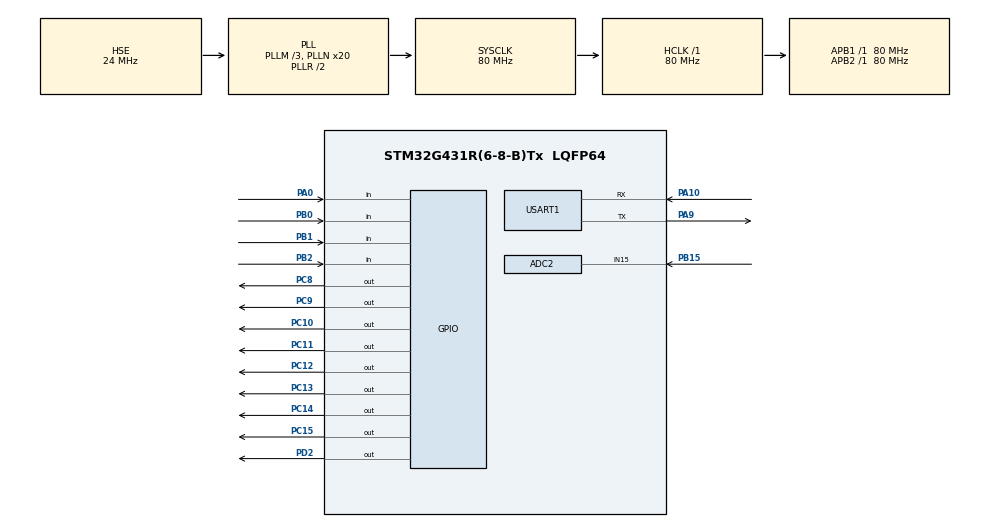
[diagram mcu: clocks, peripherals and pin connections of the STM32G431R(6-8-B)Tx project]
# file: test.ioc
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ADC2.Channel-0\#ChannelRegularConversion=ADC_CHANNEL_15
ADC2.NbrOfConversionFlag=1
ADC2.OffsetNumber-0\#ChannelRegularConversion=ADC_OFFSET_NONE
ADC2.Rank-0\#ChannelRegularConversion=1
ADC2.SamplingTime-0\#ChannelRegularConversion=ADC_SAMPLETIME_2CYCLES_5
Mcu.Family=STM32G4
Mcu.Name=STM32G431R(6-8-B)Tx
Mcu.Package=LQFP64
NVIC.PriorityGroup=NVIC_PRIORITYGROUP_4
NVIC.TIM7_IRQn=true\:0\:0\:false\:false\:true\:true\:true\:true
NVIC.USART1_IRQn=true\:0\:0\:false\:false\:true\:true\:true\:true
PA0.Signal=GPIO_Input
PA10.Mode=Asynchronous
PA10.Signal=USART1_RX
PA13.Mode=Serial_Wire
PA13.Signal=SYS_JTMS-SWDIO
PA14.Mode=Serial_Wire
PA14.Signal=SYS_JTCK-SWCLK
PA9.Mode=Asynchronous
PA9.Signal=USART1_TX
PB0.Signal=GPIO_Input
PB1.Signal=GPIO_Input
PB15.Mode=IN15-Single-Ended
PB15.Signal=ADC2_IN15
PB2.Signal=GPIO_Input
PC10.Signal=GPIO_Output
PC11.Signal=GPIO_Output
PC12.Signal=GPIO_Output
PC13.Signal=GPIO_Output
PC14-OSC32_IN.Signal=GPIO_Output
PC15-OSC32_OUT.Signal=GPIO_Output
PC8.Signal=GPIO_Output
PC9.Signal=GPIO_Output
PD2.Signal=GPIO_Output
PF0-OSC_IN.Mode=HSE-External-Oscillator
PF0-OSC_IN.Signal=RCC_OSC_IN
PF1-OSC_OUT.Mode=HSE-External-Oscillator
PF1-OSC_OUT.Signal=RCC_OSC_OUT
ProjectManager.HeapSize=0x200
ProjectManager.StackSize=0x400
ProjectManager.TargetToolchain=MDK-ARM V5
RCC.ADC12Freq_Value=80000000
RCC.AHBFreq_Value=80000000
RCC.APB1Freq_Value=80000000
RCC.APB1TimFreq_Value=80000000
RCC.APB2Freq_Value=80000000
RCC.APB2TimFreq_Value=80000000
RCC.CortexFreq_Value=80000000
RCC.EXTERNAL_CLOCK_VALUE=12288000
RCC.HCLKFreq_Value=80000000
RCC.HSE_VALUE=24000000
RCC.HSI48_VALUE=48000000
RCC.HSI_VALUE=16000000
RCC.LSE_VALUE=32768
RCC.PLLM=RCC_PLLM_DIV3
RCC.PLLN=20
RCC.PLLSourceVirtual=RCC_PLLSOURCE_HSE
RCC.SYSCLKFreq_VALUE=80000000
RCC.SYSCLKSource=RCC_SYSCLKSOURCE_PLLCLK
RCC.USBFreq_Value=80000000
RCC.VCOOutputFreq_Value=160000000
TIM7.PeriodNoDither=9
TIM7.Prescaler=7999
USART1.VirtualMode-Asynchronous=VM_ASYNC
VP_SYS_VS_DBSignals.Mode=DisableDeadBatterySignals
VP_TIM7_VS_ClockSourceINT.Mode=Enable_Timer
board=custom

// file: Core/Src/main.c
/* USER CODE BEGIN Header */
/**
  ******************************************************************************
  * @file           : main.c
  * @brief          : Main program body
  ******************************************************************************
  * @attention
  *
  * Copyright (c) 2025 STMicroelectronics.
  * All rights reserved.
  *
  * This software is licensed under terms that can be found in the LICENSE file
  * in the root directory of this software component.
  * If no LICENSE file comes with this software, it is provided AS-IS.
  *
  ******************************************************************************
  */
/* USER CODE END Header */
#include "main.h"
#include "adc.h"
#include "tim.h"
#include "usart.h"
#include "gpio.h"

/* USER CODE BEGIN Includes */
#include "stdio.h"
#include "string.h"
#include "lcd.h"
/* USER CODE END Includes */

/* USER CODE BEGIN PTD */
#define UNLOCKLED       HAL_GPIO_WritePin(GPIOD,GPIO_PIN_2,GPIO_PIN_SET)
#define LOCKLED         HAL_GPIO_WritePin(GPIOD,GPIO_PIN_2,GPIO_PIN_RESET)
#define LEDFLOWLB 0X01
#define LEDFLOWLE 0X10
#define LEDFLOWRB 0x10
#define LEDFLOWRE 0X01
/* USER CODE END PTD */

/* USER CODE BEGIN PV */
u8 ucLed=0x01;
u32 uwTick_Lcd=0;
char LineString[1000];
char buffer[20];
uint8_t blink_state = 0;
volatile uint8_t blink_mask = 0x40|0x80;
u32 uwTick_LED_Speed_nms=0;
uint32_t flow_interval = 300;
int left_flag=1;
int right_flag=0;
u32 uwTick_Key=0;
u8 KeyValue;
u8 KeyState;
u32 blink_timer;
char *text="Timer";
char *working="1Car on Working";
char *charging="2Car on Charging";
char *state_normal="BarrState:Normal";
char *state_lower="BarrState:Lower";
char *state_charging="BarrState:Charging";
char *state_fully="BarrState:Fully";
char *state_set="Status: Setting";
char LineString1[1000];
char LineString2[1000];
char HelloStr[] = "Hello world";
char bar_count0[]="ok";
char LineString4[1000];
u8 working_state=1;
u8 charging_state=0;
u32 uwTick_Adc;
double voltage;
double barr_low=1.0;
int bar_count=0;
u32 uwTick_bar;
u8 low_state;
u8 mag_state=0;
static uint8_t gLedBitL;

/* USER CODE END PV */

void SystemClock_Config(void);
/* USER CODE BEGIN PFP */
void LED_Disp(volatile uint8_t Led_num)
{

    HAL_GPIO_WritePin(GPIOC,GPIO_PIN_13|GPIO_PIN_14|GPIO_PIN_15|GPIO_PIN_8|GPIO_PIN_9|GPIO_PIN_10|GPIO_PIN_11|GPIO_PIN_12,GPIO_PIN_SET);
    UNLOCKLED;
    LOCKLED;

    HAL_GPIO_WritePin(GPIOC,Led_num<<8,GPIO_PIN_RESET);
    UNLOCKLED;
    LOCKLED;
}
void App_Low4Blink(int interval)
{
  if (uwTick - blink_timer < interval) {
        return;
    }
    blink_timer = uwTick;
    blink_state ^= 1;

}
void lcd_middledisplay(u8 Line, char* sources)
{
    int paddling = (20 - strlen(sources)) / 2;
    snprintf(buffer, 20, "%*s%s%*s", paddling, "", sources,paddling, "");
    LCD_DisplayStringLine(Line, (u8*)buffer);
}

void Lcd_Pro(void){
		if((uwTick-uwTick_Lcd)<200)return;
		uwTick_Lcd=uwTick;
		if(working_state==1){

			lcd_middledisplay(Line1, working);
			sprintf((char *)LineString2,"BarrVolt %.1fV",voltage);
			lcd_middledisplay(Line5, LineString2);
			if(voltage<barr_low){
				lcd_middledisplay(Line4, state_lower);
			}else{
				lcd_middledisplay(Line4, state_normal);
			}
		}
		else if(working_state==0){

			lcd_middledisplay(Line1,charging);
			sprintf((char *)LineString2,"BarrVolt %.1fV",voltage);
			lcd_middledisplay(Line3, LineString2);
			if(voltage>=3.0){
				lcd_middledisplay(Line4, state_fully);
			}else{
				lcd_middledisplay(Line4, state_charging);
			}
			if(mag_state==0){
				sprintf((char *)LineString2,"ChargCycles: %d",bar_count);
				LCD_HighlightLineDefault(Line6, (char *)LineString2);
				sprintf((char *)LineString2,"BarrMin %.1fV",barr_low);
				lcd_middledisplay(Line7, LineString2);
			}
			else if(mag_state==1){
					sprintf((char *)LineString2,"ChargCycles: %d",bar_count);
					lcd_middledisplay(Line6, LineString2);
					sprintf((char *)LineString2,"BarrMin %.1fV",barr_low);
					LCD_HighlightLineDefault(Line7, (char *)LineString2);
			}

		}

}
uint8_t FlowLedLeft_app(volatile uint8_t Led_Bit)
{

    if((uwTick - uwTick_LED_Speed_nms)<flow_interval)   {return Led_Bit;}
        uwTick_LED_Speed_nms = uwTick;

    LED_Disp(Led_Bit);

    Led_Bit = Led_Bit<<1;
    if(Led_Bit == LEDFLOWLE)   Led_Bit =LEDFLOWLB;
    return  Led_Bit;

}

void Key_Pro(void){
		if((uwTick-uwTick_Key)<10)return;
		uwTick_Key=uwTick;
		KeyValue=key_scanf();
		if(KeyValue==1){
			KeyState=1;
		}else if(KeyValue==2){
			KeyState=2;
		}else if(KeyValue==3){
			KeyState=3;
		}else if(KeyValue==4){
			KeyState=4;
		}
		if(KeyState==1){
			if(working_state==0&&mag_state==0){
				bar_count=0;
			}else if(working_state==0&&mag_state==1){
				barr_low+=0.1;
				if(barr_low>1)barr_low-=0.1;
			}
			KeyState=0;
		}else if(KeyState==2){
			if(working_state==0&&mag_state==1){
			barr_low-=0.1;
			if(barr_low<0.1)barr_low+=0.1;
			}
			KeyState=0;
		}else if(KeyState==3){
			if(working_state==0)mag_state^=1;
			KeyState=0;
		}else if(KeyState==4){
			working_state^=1;

			LCD_Clear(Blue);

			KeyState=0;
		}
}
void Charging_pro(void){
		if((uwTick-uwTick_bar)<10)return;
		uwTick_bar=uwTick;
		if(voltage<barr_low){
				low_state=1;
		}
		if(low_state==1&&(voltage>3.0)){
			bar_count++;
			low_state=0;
		}
}
void Rx_Process(void)
{
     if(Rx_flg ==1)
      {
        if(working_state==0&&(!strcmp((char *)Rx_Buff,"ChargeCycles0\r\n"))){
					bar_count=0;
					HAL_UART_Transmit(&huart1, (u8*)bar_count0, strlen(bar_count0), 0xffff);
				}
				else if(!strcmp((char *)Rx_Buff,"BarrVolt\r\n")){
					sprintf((char *)LineString4,"BarrVolt: %.1fV\r\n",voltage);
					HAL_UART_Transmit(&huart1, (u8*)LineString4, strlen(LineString4), 0xffff);
				}

						memset(Rx_Buff,0x00, 256);
            Rx_cnt =0;
            Rx_flg =0;
}
}
void Adc_Pro(void){
		if((uwTick-uwTick_Adc)<200)return;
		uwTick_Adc=uwTick;
		HAL_ADC_Start(&hadc2);
		HAL_ADC_PollForConversion(&hadc2,1000);
		voltage=HAL_ADC_GetValue(&hadc2)*3.3/4096;
}
/* USER CODE END PFP */

int main(void)
{

  /* USER CODE BEGIN 1 */
gLedBitL = LEDFLOWLB;

  /* USER CODE END 1 */

  /* MCU Configuration--------------------------------------------------------*/

  /* Reset of all peripherals, Initializes the Flash interface and the Systick. */
  HAL_Init();

  /* Configure the system clock */
  SystemClock_Config();

  /* Initialize all configured peripherals */
  MX_GPIO_Init();
  MX_ADC2_Init();
  MX_TIM7_Init();
  MX_USART1_UART_Init();
  /* USER CODE BEGIN 2 */
	HAL_UART_Receive_IT(&huart1,&aRX,1);
	LCD_Init();
	LCD_Clear(Blue);
	LCD_SetTextColor(White);
	LCD_SetBackColor(Blue);
	LED_Disp(0);
	memset(Rx_Buff, 0x00, sizeof(Rx_Buff));
  /* USER CODE END 2 */

  /* Infinite loop */
  /* USER CODE BEGIN WHILE */
  while (1)
  {
		u8 blink_led=0;
		u8 flow_led=0;
		u8 total_led=0;
		u8 up_led=0;
		Rx_Process();
		Lcd_Pro();
		Key_Pro();
		Adc_Pro();
		Charging_pro();
		if(working_state==1&&(voltage<barr_low)){
			App_Low4Blink(200);
			blink_led = blink_state ? blink_mask : 0;
		}else if(working_state==1&&!(voltage<barr_low)){
			up_led=0x40|0x80;
		}
		else if(working_state==0&&(voltage<3.0)){
			App_Low4Blink(200);
			blink_led = blink_state ? blink_mask : 0;
			gLedBitL = FlowLedLeft_app(gLedBitL);
      flow_led = gLedBitL;
		}
		else if(working_state==0&&(voltage>=3.0)){
			up_led=0x40|0x80;
		}

		total_led=flow_led|blink_led|up_led;
		LED_Disp(total_led);
    /* USER CODE END WHILE */

  }
}

void SystemClock_Config(void)
{
  RCC_OscInitTypeDef RCC_OscInitStruct = {0};
  RCC_ClkInitTypeDef RCC_ClkInitStruct = {0};

  /** Configure the main internal regulator output voltage
  */
  HAL_PWREx_ControlVoltageScaling(PWR_REGULATOR_VOLTAGE_SCALE1);

  /** Initializes the RCC Oscillators according to the specified parameters
  * in the RCC_OscInitTypeDef structure.
  */
  RCC_OscInitStruct.OscillatorType = RCC_OSCILLATORTYPE_HSE;
  RCC_OscInitStruct.HSEState = RCC_HSE_ON;
  RCC_OscInitStruct.PLL.PLLState = RCC_PLL_ON;
  RCC_OscInitStruct.PLL.PLLSource = RCC_PLLSOURCE_HSE;
  RCC_OscInitStruct.PLL.PLLM = RCC_PLLM_DIV3;
  RCC_OscInitStruct.PLL.PLLN = 20;
  RCC_OscInitStruct.PLL.PLLP = RCC_PLLP_DIV2;
  RCC_OscInitStruct.PLL.PLLQ = RCC_PLLQ_DIV2;
  RCC_OscInitStruct.PLL.PLLR = RCC_PLLR_DIV2;
  if (HAL_RCC_OscConfig(&RCC_OscInitStruct) != HAL_OK)
  {
    Error_Handler();
  }

  /** Initializes the CPU, AHB and APB buses clocks
  */
  RCC_ClkInitStruct.ClockType = RCC_CLOCKTYPE_HCLK|RCC_CLOCKTYPE_SYSCLK
                              |RCC_CLOCKTYPE_PCLK1|RCC_CLOCKTYPE_PCLK2;
  RCC_ClkInitStruct.SYSCLKSource = RCC_SYSCLKSOURCE_PLLCLK;
  RCC_ClkInitStruct.AHBCLKDivider = RCC_SYSCLK_DIV1;
  RCC_ClkInitStruct.APB1CLKDivider = RCC_HCLK_DIV1;
  RCC_ClkInitStruct.APB2CLKDivider = RCC_HCLK_DIV1;

  if (HAL_RCC_ClockConfig(&RCC_ClkInitStruct, FLASH_LATENCY_2) != HAL_OK)
  {
    Error_Handler();
  }
}

void Error_Handler(void)
{
  __disable_irq();
  while (1)
  {
  }
}
